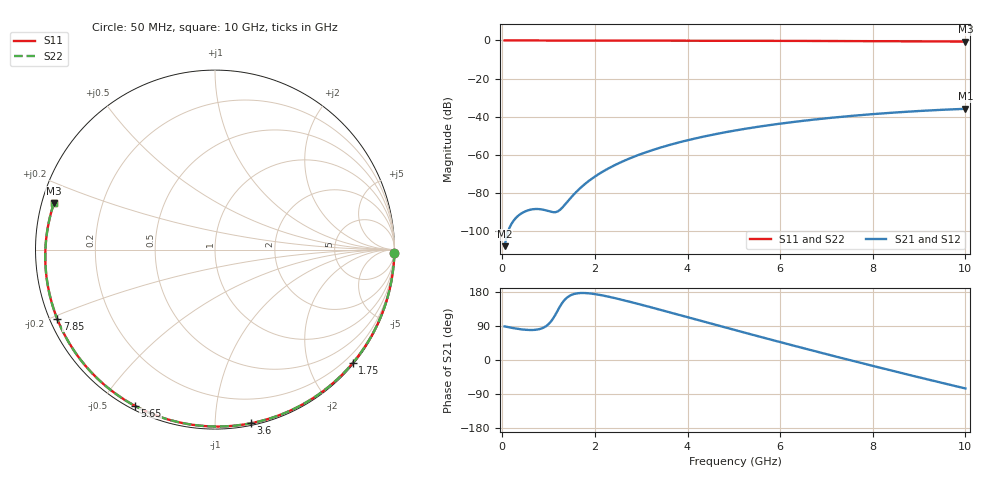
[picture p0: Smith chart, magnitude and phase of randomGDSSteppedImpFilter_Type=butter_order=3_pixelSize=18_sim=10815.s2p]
! freq	dB(S11)	phase(S11)	dB(S12)	phase(S12)
!  dB(S21)	phase(S21)	dB(S22)	phase(S22)
!S-par simulation data
#  GHz  S  DB  R 50
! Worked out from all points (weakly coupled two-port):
!   200 points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, 50 MHz to 10 GHz, reference 50 ohm
!   highest |S21| = -35.81 dB at 10 GHz (marker M1); lowest = -107.8 dB at 50 MHz (marker M2)
!   lowest |S11| = -0.6 dB at 10 GHz (marker M3), VSWR 29.24, Z = 1.74 + j7.07 ohm
!   |S11| at or under -10 dB: nowhere
!   |S22| runs from -0.6 to 0.0 dB; largest |S21 - S12| = 0
!   S11 on the Smith chart (normalised r, x): 50 MHz: open; 1.75 GHz: 0.03, -2.78; 3.6 GHz: 0.02, -1.23; 5.65 GHz: 0.02, -0.61; 7.85 GHz: 0.02, -0.21; 10 GHz: 0.03, +0.14
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0.05  -0.00 -1.1  -107.78 88.7  -107.78 88.7  -0.00 -1.1
0.45  -0.02 -10.3  -90.08 80.3  -90.08 80.3  -0.02 -10.3
0.8  -0.02 -18.3  -88.37 81.5  -88.37 81.5  -0.02 -18.3
1.55  -0.04 -35.1  -80.54 174.2  -80.54 174.2  -0.04 -35.1
1.6  -0.05 -36.2  -79.29 175.6  -79.29 175.6  -0.05 -36.2
1.75  -0.05 -39.5  -75.91 176.8  -75.91 176.8  -0.05 -39.5
2.05  -0.06 -46.1  -70.51 172.9  -70.51 172.9  -0.06 -46.1
2.25  -0.06 -50.4  -67.60 168.2  -67.60 168.2  -0.06 -50.4
2.45  -0.07 -54.6  -65.07 162.8  -65.07 162.8  -0.07 -54.6
2.9  -0.08 -64.1  -60.37 149.1  -60.37 149.1  -0.08 -64.1
3.4  -0.10 -74.3  -56.24 132.9  -56.24 132.9  -0.10 -74.3
3.6  -0.10 -78.3  -54.82 126.3  -54.82 126.3  -0.10 -78.3
4.3  -0.13 -92.1  -50.61 103.0  -50.61 103.0  -0.13 -92.1
5.05  -0.16 -106.2  -47.08 78.2  -47.08 78.2  -0.16 -106.2
5.65  -0.19 -117.3  -44.77 58.6  -44.77 58.6  -0.19 -117.3
6.15  -0.22 -126.3  -43.12 42.4  -43.12 42.4  -0.22 -126.3
6.7  -0.26 -136.1  -41.54 24.9  -41.54 24.9  -0.26 -136.0
7.3  -0.31 -146.7  -40.06 6.1  -40.06 6.1  -0.31 -146.6
7.85  -0.36 -156.4  -38.89 -10.9  -38.89 -10.9  -0.36 -156.4
8.35  -0.40 -165.3  -37.97 -26.2  -37.97 -26.2  -0.40 -165.3
9.2  -0.50 179.2  -36.70 -51.7  -36.70 -51.7  -0.50 179.2
10  -0.59 163.9  -35.81 -75.1  -35.81 -75.1  -0.59 163.9
